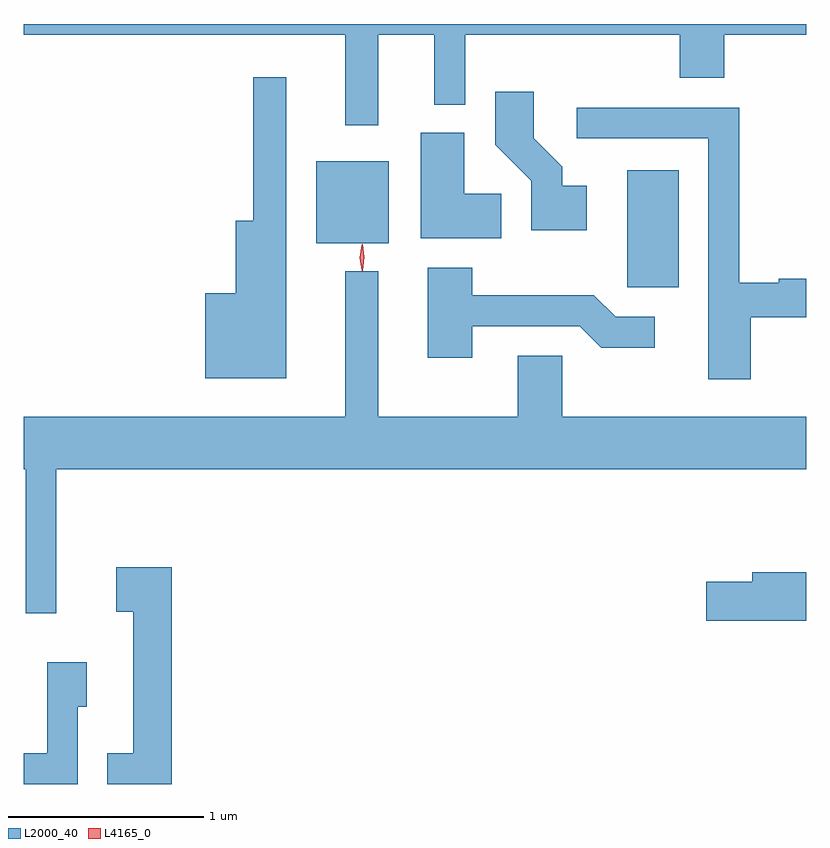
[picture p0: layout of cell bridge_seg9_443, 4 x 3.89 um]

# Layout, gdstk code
import gdstk
lib = gdstk.Library(unit=1e-6, precision=1e-09)
def R(c, l, rs):  # rectangles x0, y0, x1, y1
    for r in rs: c.add(gdstk.rectangle(r[:2], r[2:], *l))
def P(c, l, *ps):  # polygons
    for p in ps: c.add(gdstk.Polygon(p, *l))
L2000_40 = (2000, 40)
L4165_0 = (4165, 0)

bridge_seg9_443 = lib.new_cell('bridge_seg9_443')
R(bridge_seg9_443, L2000_40, [(410.961,1977.206,411.224,1977.804), (409.371,1977.431,409.744,1977.849)])
P(bridge_seg9_443, L2000_40, [(409.689,1978.496),(409.976,1978.496),(409.976,1978.138),(410.134,1978.138),(410.134,1978.496),(411.231,1978.496),(411.231,1978.276),(411.459,1978.276),(411.459,1978.496),(411.877,1978.496),(411.877,1978.551),(407.877,1978.551),(407.877,1978.496),(409.521,1978.496),(409.521,1978.033),(409.689,1978.033)],
  [(409.219,1978.278),(409.051,1978.278),(409.051,1977.544),(408.961,1977.544),(408.961,1977.174),(408.806,1977.174),(408.806,1976.741),(409.219,1976.741)],
  [(410.754,1977.724),(410.629,1977.724),(410.629,1977.822),(410.484,1977.967),(410.484,1978.204),(410.286,1978.204),(410.286,1977.934),(410.471,1977.749),(410.471,1977.496),(410.754,1977.496)],
  [(411.594,1977.051),(411.877,1977.051),(411.877,1977.249),(411.736,1977.249),(411.736,1977.229),(411.534,1977.229),(411.534,1978.124),(410.703,1978.124),(410.703,1977.966),(411.376,1977.966),(411.376,1976.736),(411.594,1976.736)],
  [(410.319,1977.684),(410.129,1977.684),(410.129,1977.994),(409.906,1977.994),(409.906,1977.456),(410.319,1977.456)],
  [(410.169,1977.006),(410.719,1977.006),(410.829,1976.896),(411.103,1976.896),(411.103,1977.054),(410.902,1977.054),(410.792,1977.164),(410.169,1977.164),(410.169,1977.304),(409.941,1977.304),(409.941,1976.846),(410.169,1976.846)],
  [(408.044,1976.276),(411.877,1976.276),(411.877,1976.544),(410.629,1976.544),(410.629,1976.854),(410.401,1976.854),(410.401,1976.544),(409.689,1976.544),(409.689,1977.288),(409.521,1977.288),(409.521,1976.544),(407.877,1976.544),(407.877,1976.276),(407.886,1976.276),(407.886,1975.538),(408.044,1975.538)],
  [(408.634,1975.774),(408.351,1975.774),(408.351,1975.546),(408.436,1975.546),(408.436,1974.824),(408.303,1974.824),(408.303,1974.666),(408.634,1974.666)],
  [(411.877,1975.749),(411.601,1975.749),(411.601,1975.699),(411.366,1975.699),(411.366,1975.501),(411.877,1975.501)],
  [(408.154,1975.061),(408.199,1975.061),(408.199,1975.289),(407.996,1975.289),(407.996,1974.824),(407.877,1974.824),(407.877,1974.666),(408.154,1974.666)])
P(bridge_seg9_443, L4165_0, [(409.608,1977.289),(409.608,1977.29),(409.598,1977.358),(409.608,1977.425),(409.608,1977.426),(409.609,1977.425),(409.618,1977.358),(409.609,1977.29)],
  [(409.605,1977.293),(409.605,1977.293),(409.595,1977.357),(409.605,1977.422),(409.605,1977.422),(409.606,1977.422),(409.615,1977.357),(409.606,1977.293)])

lib.write_gds('bridge_seg9_443.gds')
